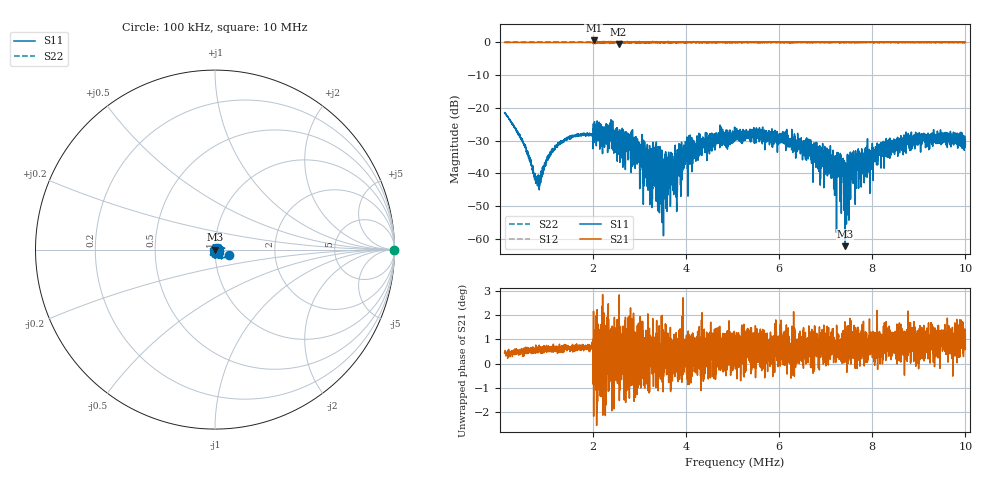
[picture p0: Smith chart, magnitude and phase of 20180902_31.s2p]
! Anritsu VNA Master:  Model: MS2026C/19
! SN:  1815009
! /card0/usr/20180902_31.s2p
! Existing Calibration Information:
! TYPE:  Current Settings,  Active Cal Settings
! TIME:  09/02/2018 07:11:13 PM,  09/02/2018 11:58:48 AM
! INTERNAL TEMP:  49.5 C,  48.8 C
! # POINTS:  4001,  4001
! START FREQ:  100.000 kHz,  100.000 kHz
! STOP FREQ:  10.000 MHz,  10.000 MHz
! SOURCE POWER:  Low,  Low
! IFBW:  500 Hz,  500 Hz
! AVG FACTOR:  1 ,  1
! REF PLANE 1:  0 mm,  0 mm
! REF PLANE 2:  0 mm,  0 mm
! CAL TYPE:  1P2P S11,S21,  1P2P S11,S21
! CAL METHOD:  SOLT,  SOLT
! CAL LINE TYPE:  Coax,  Coax
! DUT PORT 1:  N-Conn(M),  N-Conn(M)
! DUT PORT 2:  N-Conn(M),  N-Conn(M)
! CAL STATUS:  OK: Accuracy High,  --
# GHZ S RI R 50.0
! FREQ.GHZ  S11RE  S11IM  S21RE  S21IM  S12RE  S12IM  S22RE  S22IM
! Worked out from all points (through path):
!   4001 points, 100 kHz to 10 MHz, reference 50 ohm
!   highest |S21| = 0.55 dB at 2.013 MHz (marker M1); lowest = -0.5 dB at 2.548 MHz (marker M2)
!   lowest |S11| = -62.2 dB at 7.414 MHz (marker M3), VSWR 1.00, Z = 49.9 - j0.0234 ohm
!   |S11| at or under -10 dB: start of sweep to end of sweep
!   |S22| runs from 0.0 to 0.0 dB; largest |S21 - S12| = 0.076
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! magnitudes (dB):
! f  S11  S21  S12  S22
! 100 kHz  -21.5  -0.1  0.0  0.0
! 510.9 kHz  -31.1  -0.1  0.0  0.0
! 817.8 kHz  -42.2  -0.1  0.0  0.0
! 1.221 MHz  -32.0  0.0  0.0  0.0
! 1.751 MHz  -28.2  0.0  0.0  0.0
! 2.013 MHz  -27.9  0.6  0.0  0.0
! 2.548 MHz  -32.1  -0.5  0.0  0.0
! 2.929 MHz  -32.9  0.1  0.0  0.0
! 3.231 MHz  -34.1  0.0  0.0  0.0
! 3.402 MHz  -31.8  0.1  0.0  0.0
! 3.765 MHz  -31.4  -0.1  0.0  0.0
! 3.867 MHz  -35.1  0.1  0.0  0.0
! 4.107 MHz  -34.1  0.0  0.0  0.0
! 5.05 MHz  -28.1  -0.1  0.0  0.0
! 6.09 MHz  -29.2  0.0  0.0  0.0
! 6.701 MHz  -32.0  0.0  0.0  0.0
! 7.414 MHz  -62.2  0.0  0.0  0.0
! 7.458 MHz  -41.1  0.0  0.0  0.0
! 7.57 MHz  -37.4  0.0  0.0  0.0
! 8.352 MHz  -32.1  0.0  0.0  0.0
! 9.116 MHz  -29.1  -0.1  0.0  0.0
! 10 MHz  -31.2  0.0  0.0  0.0
